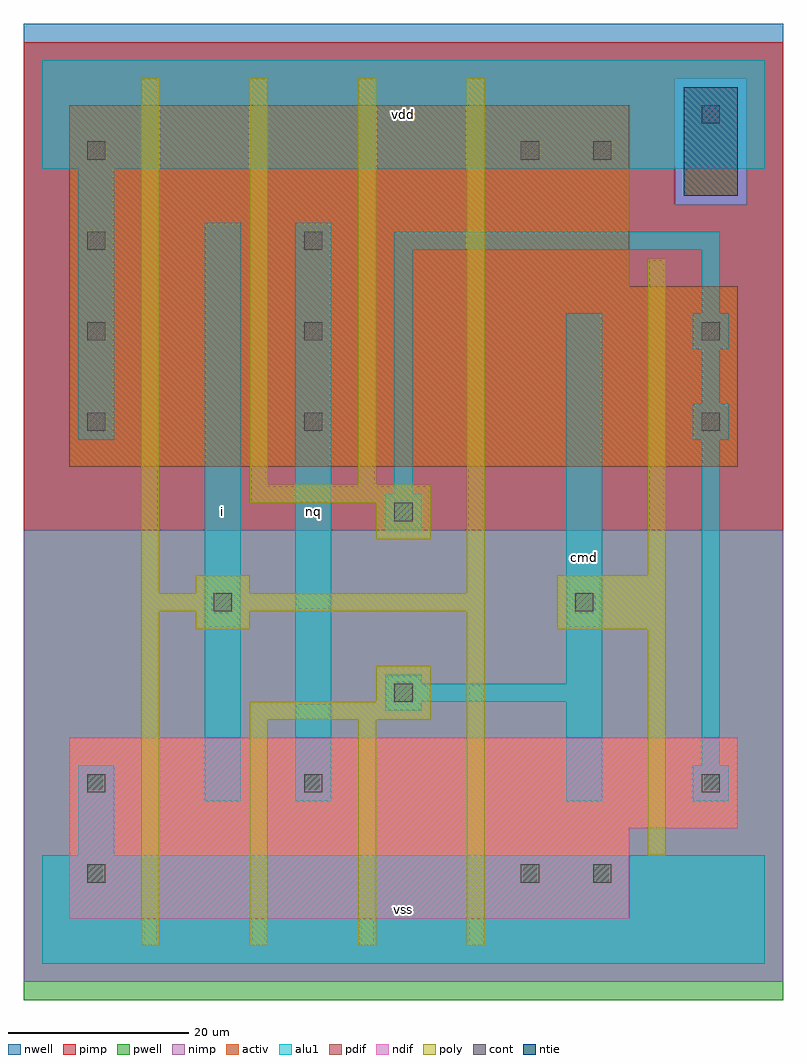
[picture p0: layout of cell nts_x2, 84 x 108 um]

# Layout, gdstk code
import gdstk
lib = gdstk.Library(unit=1e-6, precision=1e-09)
def R(c, l, rs):  # rectangles x0, y0, x1, y1
    for r in rs: c.add(gdstk.rectangle(r[:2], r[2:], *l))
def A(c, l, x, y, w, h, nx, ny, dx, dy):  # array of equal rectangles
    R(c, l, [(x+i*dx, y+j*dy, x+i*dx+w, y+j*dy+h) for i in range(nx) for j in range(ny)])
ndif = (3, 0)
pdif = (4, 0)
ntie = (5, 0)
cont = (25, 0)
pwell = (41, 0)
nwell = (42, 0)
activ = (43, 0)
pimp = (44, 0)
nimp = (45, 0)
poly = (46, 0)
alu1 = (49, 0)

nts_x2 = lib.new_cell('nts_x2')
R(nts_x2, ndif, [(3,5,65,15), (3,15,77,25)])
R(nts_x2, pdif, [(3,55,77,75), (3,75,65,95)])
R(nts_x2, ntie, [(71,85,77,97)])
A(nts_x2, cont, 5, 59, 2, 2, 1, 4, 0, 10)
A(nts_x2, cont, 29, 59, 2, 2, 1, 3, 0, 10)
R(nts_x2, cont, [(5,9,7,11), (53,9,55,11), (61,9,63,11), (5,19,7,21), (29,19,31,21), (73,19,75,21), (39,29,41,31), (19,39,21,41), (59,39,61,41), (39,49,41,51), (73,59,75,61), (73,69,75,71), (53,89,55,91), (61,89,63,91), (73,93,75,95)])
R(nts_x2, pwell, [(-2,-4,82,48)])
R(nts_x2, nwell, [(-2,48,82,104)])
R(nts_x2, activ, [(3,5,65,15), (3,15,77,25), (3,55,77,75), (3,75,65,95), (71,85,77,97)])
R(nts_x2, pimp, [(-2,48,82,84), (-2,84,70,98), (78,84,82,98), (-2,98,82,102)])
R(nts_x2, nimp, [(-2,-2,82,48), (70,84,78,98)])
R(nts_x2, poly, [(11,2,13,39), (23,2,25,27), (35,2,37,27), (47,2,49,39), (67,12,69,37), (23,27,43,29), (37,29,43,33), (17,37,23,39), (57,37,69,43), (11,39,49,41), (11,41,13,98), (17,41,23,43), (47,41,49,98), (67,43,69,78), (37,47,43,51), (23,51,43,53), (23,53,25,98), (35,53,37,98)])
R(nts_x2, alu1, [(0,0,80,12), (4,12,8,22), (18,18,22,82), (28,18,32,82), (58,18,62,29), (72,18,76,22), (73,22,75,58), (38,28,42,29), (38,29,62,31), (38,31,42,32), (58,31,62,72), (38,48,42,52), (39,52,41,79), (4,58,8,88), (72,58,76,62), (73,62,75,68), (72,68,76,72), (73,72,75,79), (39,79,75,81), (0,88,80,100)])
nts_x2.add(gdstk.Label('nq', (30,50), layer=49, texttype=0))
nts_x2.add(gdstk.Label('i', (20,50), layer=49, texttype=0))
nts_x2.add(gdstk.Label('vss', (40,6), layer=49, texttype=0))
nts_x2.add(gdstk.Label('vdd', (40,94), layer=49, texttype=0))
nts_x2.add(gdstk.Label('cmd', (60,45), layer=49, texttype=0))

lib.write_gds('nts_x2.gds')
